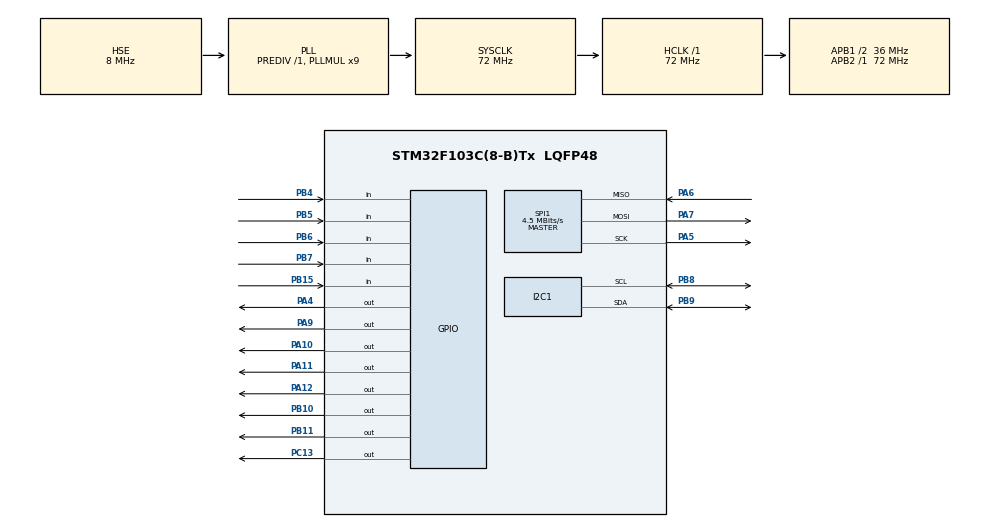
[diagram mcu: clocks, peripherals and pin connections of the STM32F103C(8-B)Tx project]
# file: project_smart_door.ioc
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Mcu.Family=STM32F1
Mcu.Name=STM32F103C(8-B)Tx
Mcu.Package=LQFP48
NVIC.PriorityGroup=NVIC_PRIORITYGROUP_4
PA10.Signal=GPIO_Output
PA11.Signal=GPIO_Output
PA12.Signal=GPIO_Output
PA13.Mode=Serial_Wire
PA13.Signal=SYS_JTMS-SWDIO
PA14.Mode=Serial_Wire
PA14.Signal=SYS_JTCK-SWCLK
PA4.Signal=GPIO_Output
PA5.Mode=Full_Duplex_Master
PA5.Signal=SPI1_SCK
PA6.Mode=Full_Duplex_Master
PA6.Signal=SPI1_MISO
PA7.Mode=Full_Duplex_Master
PA7.Signal=SPI1_MOSI
PA9.Signal=GPIO_Output
PB10.Signal=GPIO_Output
PB11.Signal=GPIO_Output
PB15.GPIO_PuPd=GPIO_PULLUP
PB15.Signal=GPIO_Input
PB4.GPIO_PuPd=GPIO_PULLUP
PB4.Signal=GPIO_Input
PB5.GPIO_PuPd=GPIO_PULLUP
PB5.Signal=GPIO_Input
PB6.GPIO_PuPd=GPIO_PULLUP
PB6.Signal=GPIO_Input
PB7.GPIO_PuPd=GPIO_PULLUP
PB7.Signal=GPIO_Input
PB8.Mode=I2C
PB8.Signal=I2C1_SCL
PB9.Mode=I2C
PB9.Signal=I2C1_SDA
PC13-TAMPER-RTC.Signal=GPIO_Output
PD0-OSC_IN.Mode=HSE-External-Oscillator
PD0-OSC_IN.Signal=RCC_OSC_IN
PD1-OSC_OUT.Mode=HSE-External-Oscillator
PD1-OSC_OUT.Signal=RCC_OSC_OUT
ProjectManager.HeapSize=0x200
ProjectManager.StackSize=0x400
ProjectManager.TargetToolchain=MDK-ARM V5
RCC.AHBFreq_Value=72000000
RCC.APB1CLKDivider=RCC_HCLK_DIV2
RCC.APB1Freq_Value=36000000
RCC.APB1TimFreq_Value=72000000
RCC.APB2Freq_Value=72000000
RCC.APB2TimFreq_Value=72000000
RCC.HCLKFreq_Value=72000000
RCC.PLLMUL=RCC_PLL_MUL9
RCC.PLLSourceVirtual=RCC_PLLSOURCE_HSE
RCC.SYSCLKFreq_VALUE=72000000
RCC.SYSCLKSource=RCC_SYSCLKSOURCE_PLLCLK
RCC.USBFreq_Value=72000000
SPI1.BaudRatePrescaler=SPI_BAUDRATEPRESCALER_16
SPI1.CalculateBaudRate=4.5 MBits/s
SPI1.Direction=SPI_DIRECTION_2LINES
SPI1.Mode=SPI_MODE_MASTER
SPI1.VirtualType=VM_MASTER
board=custom

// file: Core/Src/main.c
/* USER CODE BEGIN Header */
/**
  ******************************************************************************
  * @file           : main.c
  * @brief          : Main program body
  ******************************************************************************
  * @attention
  *
  * Copyright (c) 2023 STMicroelectronics.
  * All rights reserved.
  *
  * This software is licensed under terms that can be found in the LICENSE file
  * in the root directory of this software component.
  * If no LICENSE file comes with this software, it is provided AS-IS.
  *
  ******************************************************************************
  */
/* USER CODE END Header */
#include "main.h"

/* USER CODE BEGIN Includes */
#include "rc522.h"
#include "lcd.h"
#include "string.h"
#include "stdio.h"
#include "keypad.h"
#include "stdbool.h"
#include "flash.h"
/* USER CODE END Includes */

/* USER CODE BEGIN PD */
// Cac mode cua the
#define MODE_CHECK_CARD 0
#define MODE_ADD_CARD 1
#define MODE_DEL_CARD 2
// Cac mode cua password
#define MODE_RUN 0
#define MODE_CHANGE 1
#define MODE_INPUT_PASS 2
#define MODE_PASS_MASTER 3
// Trang thai
#define OK 0
#define NOT_OK 1
// Dia chi Flash
#define ADDRESS_PMASTER_STORAGE (0x08000000 + 90 * 1024)
#define ADDRESS_PASS_STORAGE (0x08000000 + 91 * 1024)
#define ADDRESS_CARD_STORAGE (0x08000000 + 92 * 1024)
#define ADDRESS_COUNT_STORAGE (0x08000000 + 93 * 1024)
#define ADDRESS_COUNT_M_STORAGE (0x08000000 + 94 * 1024)
#define LIMIT_CARD	255
#define LIMIT_PASS	6
/* USER CODE END PD */

I2C_HandleTypeDef hi2c1;

SPI_HandleTypeDef hspi1;

/* USER CODE BEGIN PV */
// Key card default
char key_card[LIMIT_CARD*4];
char status;
char str[MFRC522_MAX_LEN]; //MFRC522_MAX_LEN = 16
char serNum[5];
int wrong_card = 0;

// Password default
char pass_master[] = {'1','1','1','1','1','1'};
char password[LIMIT_PASS];
// Cac bien su dung
uint8_t key;
int len_key_card = 0;
char i,j,tmp,x,k;
char count_key = 0;
char count_key_in = 0;
char count_enter_pass = 0;
char count_enter_pmaster = 0;
char key_pass[7];
char buffer_pass[7];
char new_pass1[7];
char new_pass2[7];
char mode_pass = 4;
char status_pass = 2;
char check_pass = 2;
char mode_card = MODE_CHECK_CARD;
char status_card = 2;
char check_card = 2;
char checking = NOT_OK;
int time = 0;
/* USER CODE END PV */

void SystemClock_Config(void);
static void MX_GPIO_Init(void);
static void MX_I2C1_Init(void);
static void MX_SPI1_Init(void);
/* USER CODE BEGIN PFP */
int get_len_keycard(void);
char check_card_RFID(void);
void check_Card(void);
void add_Card(void);
void del_Card (void);
char run_CheckPass(char pass[LIMIT_PASS]);
void run_Normal(void);
void run_ChangePass(void);
void run_InputPass(void);
void run_PassMaster(void);
void get_key(void);
void press_button(void);
void notify_audio(int s);
void open_latch(void);
void loop_main(void);
/* USER CODE END PFP */

int main(void)
{

  /* MCU Configuration--------------------------------------------------------*/

  /* Reset of all peripherals, Initializes the Flash interface and the Systick. */
  HAL_Init();

  /* Configure the system clock */
  SystemClock_Config();

  /* Initialize all configured peripherals */
  MX_GPIO_Init();
  MX_I2C1_Init();
  MX_SPI1_Init();
  /* USER CODE BEGIN 2 */
	/*
	Flash_Erase(ADDRESS_PMASTER_STORAGE);
	Flash_Write_Array(ADDRESS_PMASTER_STORAGE, (uint8_t*)pass_master, LIMIT_PASS);
	HAL_Delay(100);
	Flash_Erase(ADDRESS_PASS_STORAGE);
	Flash_Write_Array(ADDRESS_PASS_STORAGE, (uint8_t*)pass_master, LIMIT_PASS);
	HAL_Delay(100);
	*/
	Flash_Read_Array(ADDRESS_PASS_STORAGE, (uint8_t*)password, LIMIT_PASS);
	count_enter_pass = Flash_Read_Int(ADDRESS_COUNT_STORAGE);
	count_enter_pmaster = Flash_Read_Int(ADDRESS_COUNT_M_STORAGE);

  MFRC522_Init();
  lcd_init();
  lcd_put_cur(0, 3);
  lcd_send_string("WELLCOME");
	lcd_put_cur(1, 1);
  lcd_send_string("NHOM 9 - DACN");
  HAL_Delay(2000);
  lcd_clear();
  /* USER CODE END 2 */

  /* Infinite loop */
  while (1)
  {

    /* USER CODE BEGIN 3 */
    loop_main();
  }
  /* USER CODE END 3 */
}

void SystemClock_Config(void)
{
  RCC_OscInitTypeDef RCC_OscInitStruct = {0};
  RCC_ClkInitTypeDef RCC_ClkInitStruct = {0};

  /** Initializes the RCC Oscillators according to the specified parameters
  * in the RCC_OscInitTypeDef structure.
  */
  RCC_OscInitStruct.OscillatorType = RCC_OSCILLATORTYPE_HSE;
  RCC_OscInitStruct.HSEState = RCC_HSE_ON;
  RCC_OscInitStruct.HSEPredivValue = RCC_HSE_PREDIV_DIV1;
  RCC_OscInitStruct.HSIState = RCC_HSI_ON;
  RCC_OscInitStruct.PLL.PLLState = RCC_PLL_ON;
  RCC_OscInitStruct.PLL.PLLSource = RCC_PLLSOURCE_HSE;
  RCC_OscInitStruct.PLL.PLLMUL = RCC_PLL_MUL9;
  if (HAL_RCC_OscConfig(&RCC_OscInitStruct) != HAL_OK)
  {
    Error_Handler();
  }

  /** Initializes the CPU, AHB and APB buses clocks
  */
  RCC_ClkInitStruct.ClockType = RCC_CLOCKTYPE_HCLK|RCC_CLOCKTYPE_SYSCLK
                              |RCC_CLOCKTYPE_PCLK1|RCC_CLOCKTYPE_PCLK2;
  RCC_ClkInitStruct.SYSCLKSource = RCC_SYSCLKSOURCE_PLLCLK;
  RCC_ClkInitStruct.AHBCLKDivider = RCC_SYSCLK_DIV1;
  RCC_ClkInitStruct.APB1CLKDivider = RCC_HCLK_DIV2;
  RCC_ClkInitStruct.APB2CLKDivider = RCC_HCLK_DIV1;

  if (HAL_RCC_ClockConfig(&RCC_ClkInitStruct, FLASH_LATENCY_2) != HAL_OK)
  {
    Error_Handler();
  }
}

static void MX_I2C1_Init(void)
{

  hi2c1.Instance = I2C1;
  hi2c1.Init.ClockSpeed = 100000;
  hi2c1.Init.DutyCycle = I2C_DUTYCYCLE_2;
  hi2c1.Init.OwnAddress1 = 0;
  hi2c1.Init.AddressingMode = I2C_ADDRESSINGMODE_7BIT;
  hi2c1.Init.DualAddressMode = I2C_DUALADDRESS_DISABLE;
  hi2c1.Init.OwnAddress2 = 0;
  hi2c1.Init.GeneralCallMode = I2C_GENERALCALL_DISABLE;
  hi2c1.Init.NoStretchMode = I2C_NOSTRETCH_DISABLE;
  if (HAL_I2C_Init(&hi2c1) != HAL_OK)
  {
    Error_Handler();
  }

}

static void MX_SPI1_Init(void)
{

  /* SPI1 parameter configuration*/
  hspi1.Instance = SPI1;
  hspi1.Init.Mode = SPI_MODE_MASTER;
  hspi1.Init.Direction = SPI_DIRECTION_2LINES;
  hspi1.Init.DataSize = SPI_DATASIZE_8BIT;
  hspi1.Init.CLKPolarity = SPI_POLARITY_LOW;
  hspi1.Init.CLKPhase = SPI_PHASE_1EDGE;
  hspi1.Init.NSS = SPI_NSS_SOFT;
  hspi1.Init.BaudRatePrescaler = SPI_BAUDRATEPRESCALER_16;
  hspi1.Init.FirstBit = SPI_FIRSTBIT_MSB;
  hspi1.Init.TIMode = SPI_TIMODE_DISABLE;
  hspi1.Init.CRCCalculation = SPI_CRCCALCULATION_DISABLE;
  hspi1.Init.CRCPolynomial = 10;
  if (HAL_SPI_Init(&hspi1) != HAL_OK)
  {
    Error_Handler();
  }

}

static void MX_GPIO_Init(void)
{
  GPIO_InitTypeDef GPIO_InitStruct = {0};

  /* GPIO Ports Clock Enable */
  __HAL_RCC_GPIOC_CLK_ENABLE();
  __HAL_RCC_GPIOD_CLK_ENABLE();
  __HAL_RCC_GPIOA_CLK_ENABLE();
  __HAL_RCC_GPIOB_CLK_ENABLE();

  /*Configure GPIO pin Output Level */
  HAL_GPIO_WritePin(GPIOC, GPIO_PIN_13, GPIO_PIN_RESET);

  /*Configure GPIO pin Output Level */
  HAL_GPIO_WritePin(GPIOA, GPIO_PIN_4|GPIO_PIN_9|GPIO_PIN_10|GPIO_PIN_11
                          |GPIO_PIN_12, GPIO_PIN_RESET);

  /*Configure GPIO pin Output Level */
  HAL_GPIO_WritePin(GPIOB, GPIO_PIN_10|GPIO_PIN_11, GPIO_PIN_RESET);

  /*Configure GPIO pin : PC13 */
  GPIO_InitStruct.Pin = GPIO_PIN_13;
  GPIO_InitStruct.Mode = GPIO_MODE_OUTPUT_PP;
  GPIO_InitStruct.Pull = GPIO_NOPULL;
  GPIO_InitStruct.Speed = GPIO_SPEED_FREQ_LOW;
  HAL_GPIO_Init(GPIOC, &GPIO_InitStruct);

  /*Configure GPIO pins : PA4 PA9 PA10 PA11
                           PA12 */
  GPIO_InitStruct.Pin = GPIO_PIN_4|GPIO_PIN_9|GPIO_PIN_10|GPIO_PIN_11
                          |GPIO_PIN_12;
  GPIO_InitStruct.Mode = GPIO_MODE_OUTPUT_PP;
  GPIO_InitStruct.Pull = GPIO_NOPULL;
  GPIO_InitStruct.Speed = GPIO_SPEED_FREQ_LOW;
  HAL_GPIO_Init(GPIOA, &GPIO_InitStruct);

  /*Configure GPIO pins : PB10 PB11 */
  GPIO_InitStruct.Pin = GPIO_PIN_10|GPIO_PIN_11;
  GPIO_InitStruct.Mode = GPIO_MODE_OUTPUT_PP;
  GPIO_InitStruct.Pull = GPIO_NOPULL;
  GPIO_InitStruct.Speed = GPIO_SPEED_FREQ_LOW;
  HAL_GPIO_Init(GPIOB, &GPIO_InitStruct);

  /*Configure GPIO pins : PB15 PB4 PB5 PB6
                           PB7 */
  GPIO_InitStruct.Pin = GPIO_PIN_15|GPIO_PIN_4|GPIO_PIN_5|GPIO_PIN_6
                          |GPIO_PIN_7;
  GPIO_InitStruct.Mode = GPIO_MODE_INPUT;
  GPIO_InitStruct.Pull = GPIO_PULLUP;
  HAL_GPIO_Init(GPIOB, &GPIO_InitStruct);

}

/* USER CODE BEGIN 4 */

// Ham nhan gia tri tu ban phim nhap
void get_key()
{
  uint8_t key_input = read_keypad();
  if (key_input != 0xFF)
  {
    key = key_input;
    HAL_Delay(100);
  }
  // Che do doi mat khau
  if (key == 'A')
  {
    lcd_clear();
    count_key_in = 0;
    count_key = 0;
    mode_pass = MODE_CHANGE;
		mode_card = 3;
  }
	else if (key == 'B')
	{
		lcd_clear();
    count_key = 0;
		mode_card = MODE_ADD_CARD;
		mode_pass = 4;
    check_pass = 2;
	}
	else if (key == 'C')
	{
		lcd_clear();
    count_key = 0;
		mode_card = MODE_DEL_CARD;
		mode_pass = 4;
    check_pass = 2;
	}
	else if (key == 'D')
	{
		lcd_clear();
    count_key = 0;
		mode_pass = MODE_PASS_MASTER;
		mode_card = 3;
    check_pass = 2;
	}
  // Nhan * de backspace
  else if (key == '*')
  {
    if ((count_key > 0)&&(checking == OK))
    {
      count_key--;
      lcd_put_cur(1, count_key);
      lcd_send_data (' ');
    }
		else if ((count_key == 0)&&(checking == OK))
		{
			lcd_clear();
			check_pass = 2;
			mode_pass = 4;
			mode_card = MODE_CHECK_CARD;
		}
    if (count_key_in > 0&&(mode_pass==MODE_INPUT_PASS))
    {
      if(count_key_in<LIMIT_PASS)
      {
        lcd_put_cur(1, count_key_in-1);
        lcd_send_data (' ');
        count_key_in--;
      }
      else
      {
        lcd_put_cur(1, count_key_in-(LIMIT_PASS+1));
        lcd_send_data (' ');
        count_key_in--;
      }
    }
  }
	// Nhan # de xac nhan password or cho phep nhap password
  else if (key == '#')
  {
		lcd_clear();
    count_key_in = 0;
    count_key = 0;
    check_pass = 2;
		mode_card = MODE_CHECK_CARD;
    mode_pass = MODE_RUN;

  }
  else {}
  key_input = 0;
}

// Ham vong lap chuong trinh chinh
void loop_main()
{
	//Flash_Read_Array(ADDRESS_PASS_STORAGE, (uint8_t*)password, LIMIT_PASS);
	//Flash_Read_Int(ADDRESS_COUNT_STORAGE);
	//Flash_Read_Int(ADDRESS_COUNT_M_STORAGE);
	press_button();
  get_key();
	switch (mode_card)
	{
		case MODE_CHECK_CARD:
      check_Card();
      break;
    case MODE_ADD_CARD:
      add_Card();
      break;
    case MODE_DEL_CARD:
      del_Card();
      break;
    default:
      break;
	}
  switch (mode_pass)
  {
    case MODE_RUN:
      run_Normal();
      break;
    case MODE_CHANGE:
      run_ChangePass();
      break;
    case MODE_INPUT_PASS:
      run_InputPass();
      break;
		case MODE_PASS_MASTER:
			run_PassMaster();
			break;
    default:
      break;
  }
}

// Ham check password
char run_CheckPass(char pass[LIMIT_PASS])
{
  checking = OK;
  if ((key >= '0')&&(key <= '9'))
  {
    if (count_key == 0)
    {
      lcd_clear(); // Xoa man hinh
    }
    if (count_key < LIMIT_PASS)
    {
      buffer_pass[count_key] = key;
			//char buff_key[1];
			//buff_key[0] = key;
      lcd_put_cur(1,count_key);
      lcd_send_string("*"); // Hien thi '*' the hien dang nhap pass
      count_key++;
      key = 0;
    }
    if (count_key == LIMIT_PASS)
    {
      count_key = 0;
      lcd_clear(); // Xoa man hinh
      for(i = 0; i < LIMIT_PASS; i++){
        if(pass[i] != buffer_pass[i])
          break;
      }
      if (i == LIMIT_PASS)
      {
        check_pass = OK;
      }
      else
      {
        check_pass = NOT_OK;
        lcd_clear();
        lcd_put_cur(0,0);
        lcd_send_string("WRONG PASSWORD!"); // Hien thi sai mat khau
        notify_audio(4);
        HAL_Delay(3000);
        lcd_clear();
      }
    }
  }
  return check_pass;
  checking = NOT_OK;
}

// Ham run_Normal
void run_Normal()
{
  lcd_put_cur(0, 0);
  lcd_send_string("ENTER PASSWORD:");
  status_pass = run_CheckPass(password);
  if (status_pass == OK)
  {
		HAL_Delay(300);
    lcd_clear();
    lcd_put_cur(0,1);
    lcd_send_string("DOOR IS OPEN!"); // Hien thi mo cua
    notify_audio(2);
    open_latch();
    lcd_clear();
    count_enter_pass = 0;
		Flash_Erase(ADDRESS_COUNT_STORAGE);
		Flash_Write_Int(ADDRESS_COUNT_STORAGE, count_enter_pass);
		HAL_Delay(100);
    mode_pass = 4;
    check_pass = 2;
  }
  else if (status_pass == NOT_OK)
  {
    check_pass = 2;
    count_enter_pass++;
		Flash_Erase(ADDRESS_COUNT_STORAGE);
		Flash_Write_Int(ADDRESS_COUNT_STORAGE, count_enter_pass);
		HAL_Delay(100);
    if (count_enter_pass >= 3)
    {
      //count_enter_pass = 0;
			char buff_times[16];
			lcd_clear();
			sprintf(buff_times, "WRONG %d TIMES", count_enter_pass);
			notify_audio(15);
      lcd_clear();
      lcd_put_cur(0,3);
      lcd_send_string("WARNING!"); // Canh bao
			lcd_put_cur(1,1);
      lcd_send_string(buff_times);
      lcd_clear();
			time = count_enter_pass*40;
			lcd_put_cur(0,2);
      lcd_send_string("WAIT FOR");
			while(time>0)
			{
				char buff_time[16];
				sprintf(buff_time, "%d SECONDS", time);
				lcd_put_cur(1,1);
				lcd_send_string(buff_time);
				HAL_Delay(1000);
				time--;
			}
			lcd_clear();
    }
		check_pass = 2;
    status_pass = 2;
		mode_pass = 4;
    mode_card = MODE_CHECK_CARD;
  }
  else {}
}

// Ham run_ChangePass
void run_ChangePass()
{
  lcd_put_cur(0, 1);
  lcd_send_string("OLD PASSWORD:");
  status_pass = run_CheckPass(password);
  if (status_pass == OK)
  {
		HAL_Delay(300);
		lcd_put_cur(0,1);
		lcd_send_string("NEW PASSWORD:");
    mode_pass = MODE_INPUT_PASS;
  }
  else if (status_pass == NOT_OK)
  {
    lcd_clear();
    status_pass = 2;
    mode_pass = 4;
  }
  else {}
}

// Ham run_InputPass
void run_InputPass(){
  if ((key >= '0')&&(key <= '9'))
  {
    if (count_key_in < LIMIT_PASS)
    {
      new_pass1[count_key_in] = key;
      lcd_put_cur(1,count_key_in);
      lcd_send_string("*");
      count_key_in++;
      if (count_key_in == LIMIT_PASS){
        lcd_clear();
        lcd_put_cur(0,1);
        lcd_send_string("CONFIRM PASS:");
      }

      key = 0;
    }
    else
    {
      new_pass2[count_key_in-LIMIT_PASS] = key;
      lcd_put_cur(1,count_key_in-LIMIT_PASS);
      lcd_send_string("*");
      count_key_in++;
      key = 0;
    }
    if (count_key_in == LIMIT_PASS*2)
    {
      lcd_clear();
      count_key_in = 0;
      for(i = 0; i < LIMIT_PASS; i++)
      {
        if (new_pass1[i] != new_pass2[i])
          break;
      }
      if (i == 6)
      {
				for(i = 0; i < LIMIT_PASS; i++)
				{
					password[i] = new_pass1[i];
				}
        i=0;

				Flash_Erase(ADDRESS_PASS_STORAGE);
				Flash_Write_Array(ADDRESS_PASS_STORAGE, (uint8_t*)password, LIMIT_PASS);
				HAL_Delay(100);
				//Flash_Read_Array(ADDRESS_PASS_STORAGE, (uint8_t*)password, LIMIT_PASS);

        lcd_clear();
        lcd_put_cur(0,4);
        lcd_send_string("CHANGE");
				lcd_put_cur(1,2);
        lcd_send_string("SUCCESSFULLY");
				notify_audio(2);
        check_pass = 2;
      }
      else
      {
        lcd_clear();
        lcd_put_cur(0,4);
        lcd_send_string("CHANGE");
				lcd_put_cur(1,0);
        lcd_send_string("UNSUCCESSFULLY");
				notify_audio(4);
        check_pass = 2;
      }
      HAL_Delay(2000);
      lcd_clear();
			check_pass = 2;
      status_pass = 2;
			mode_pass = 4;
      mode_card = MODE_CHECK_CARD;
    }
  }
}

//Ham nhap pass master
void run_PassMaster()
{
	lcd_put_cur(0, 0);
  lcd_send_string("PASSWORD MASTER:");
  status_pass = run_CheckPass(pass_master);
  if(status_pass == OK)
  {
		check_pass = 2;
		status_pass = 2;
		lcd_put_cur(0,0);
		lcd_send_string("PASSWORD MASTER");
		lcd_put_cur(1,3);
		lcd_send_string("IS CORRECT");
		notify_audio(2);
		Flash_Erase(ADDRESS_COUNT_M_STORAGE);
		count_enter_pmaster = 0;
		Flash_Write_Int(ADDRESS_COUNT_M_STORAGE, count_enter_pmaster);
		HAL_Delay(100);
    HAL_Delay(1000);
		while(1)
		{
			get_key();
			lcd_put_cur(0,0);
			lcd_send_string("1:RESET PASSWORD");
			lcd_put_cur(1,0);
			lcd_send_string("2:RESET SYSTEM");
			if ((key >= '0')&&(key <= '9'))
			{
				lcd_clear(); // Xoa man hinh
				if(key == '1')
				{
					notify_audio(1);
					lcd_put_cur(0,0);
					lcd_send_string("RESET PASSWORD");
					lcd_put_cur(1,1);
					lcd_send_string("1:YES     2:NO");
					key = 0;
					while(1)
					{
						get_key();
						if ((key >= '0')&&(key <= '9'))
						{
							if(key == '1')
							{
								lcd_clear();
								Flash_Erase(ADDRESS_PASS_STORAGE);
								Flash_Write_Array(ADDRESS_PASS_STORAGE, (uint8_t*)pass_master, LIMIT_PASS);
								HAL_Delay(100);
								Flash_Erase(ADDRESS_COUNT_STORAGE);
								count_enter_pass = 0;
								Flash_Write_Int(ADDRESS_COUNT_STORAGE, count_enter_pass);
								HAL_Delay(100);
								Flash_Read_Array(ADDRESS_PASS_STORAGE, (uint8_t*)password, LIMIT_PASS);
								HAL_Delay(2000);
								lcd_put_cur(0,0);
								lcd_send_string("RESET PASSWORD");
								lcd_put_cur(1,0);
								lcd_send_string("SUCCESSFULLY");
								notify_audio(2);
								lcd_clear();
								mode_pass = 4;
								mode_card = MODE_CHECK_CARD;
								break;
							}
							if(key == '2')
							{
								lcd_clear();
								break;
							}
						}
					}
					if(key == '1' | key == '2')
					{
						key = 0;
						mode_pass = 4;
						mode_card = MODE_CHECK_CARD;
						break;
					}
				}
				else if(key == '2')
				{
					notify_audio(1);
					lcd_put_cur(0,0);
					lcd_send_string("RESET SYSTEM");
					lcd_put_cur(1,1);
					lcd_send_string("1:YES     2:NO");
					key = 0;
					while(1)
					{
						get_key();
						if ((key >= '0')&&(key <= '9'))
						{
							if(key == '1')
							{
								lcd_clear();
								Flash_Erase(ADDRESS_PASS_STORAGE);
								Flash_Write_Array(ADDRESS_PASS_STORAGE, (uint8_t*)pass_master, LIMIT_PASS);
								HAL_Delay(100);
								Flash_Erase(ADDRESS_COUNT_STORAGE);
								count_enter_pass = 0;
								Flash_Write_Int(ADDRESS_COUNT_STORAGE, count_enter_pass);
								HAL_Delay(100);
								Flash_Erase(ADDRESS_COUNT_M_STORAGE);
								count_enter_pmaster = 0;
								Flash_Write_Int(ADDRESS_COUNT_M_STORAGE, count_enter_pmaster);
								HAL_Delay(100);
								Flash_Erase(ADDRESS_CARD_STORAGE);
								Flash_Read_Array(ADDRESS_PASS_STORAGE, (uint8_t*)password, LIMIT_PASS);
								HAL_Delay(2000);
								lcd_put_cur(0,0);
								lcd_send_string("RESET SYSTEM");
								lcd_put_cur(1,2);
								lcd_send_string("SUCCESSFULLY");
								notify_audio(2);
								lcd_clear();
								mode_pass = 4;
								mode_card = MODE_CHECK_CARD;
								break;
							}
							if(key == '2')
							{
								lcd_clear();
								break;
							}
						}
					}
					if(key == '1' | key == '2')
					{
						key = 0;
						mode_pass = 4;
						mode_card = MODE_CHECK_CARD;
						break;
					}
				}
			}
		}
  }
  else if (status_pass == NOT_OK)
  {
    check_pass = 2;
    count_enter_pmaster++;
		Flash_Erase(ADDRESS_COUNT_M_STORAGE);
		Flash_Write_Int(ADDRESS_COUNT_M_STORAGE, count_enter_pmaster);
		HAL_Delay(100);
    if (count_enter_pmaster >= 3)
    {
			lcd_clear();
			char buff_times[16];
			sprintf(buff_times, "WRONG %d TIMES", count_enter_pmaster);
			notify_audio(15);
			lcd_clear();
      lcd_put_cur(0,3);
      lcd_send_string("WARNING!"); // Canh bao
			lcd_put_cur(1,1);
      lcd_send_string(buff_times);
      lcd_clear();
			time = count_enter_pmaster*40;
			lcd_put_cur(0,2);
      lcd_send_string("WAIT FOR");
			while(time>0)
			{
				char buff_time[16];
				sprintf(buff_time, "%d SECONDS", time);
				lcd_put_cur(1,1);
				lcd_send_string(buff_time);
				HAL_Delay(1000);
				time--;
			}
			lcd_clear();
    }
		check_pass = 2;
		status_pass = 2;
		mode_pass = 4;
		mode_card = MODE_CHECK_CARD;
  }
  else {}
}

int get_len_keycard()
{
	int n = 0;
	Flash_Read_Array(ADDRESS_CARD_STORAGE, (uint8_t*)key_card, LIMIT_CARD*4);
	for(i = 0; i<sizeof(key_card)/key_card[0]; i++)
	{
		if(key_card[i] != 0xFF)
		{
			n++;
		}
		else
		{
			break;
		}
	}
	return n;
}

// Ham check card
char check_card_RFID()
{
	bool is_true_card = false;
	char buff_uID[10];
	status = MFRC522_Request(PICC_REQIDL, str);
	status = MFRC522_Anticoll(str);
	memcpy(serNum, str, 4);
	if(status == MI_OK)
	{
		notify_audio(1);
		for(i = 0; i < len_key_card/4; i++)
		{
			bool match = true;
			for(j = 4*i; j < 4*i+4; j++)
			{
				if(key_card[j] != serNum[j%4])
				{
					match = false;
					break;
				}
			}
			if(match)
			{
				is_true_card = true;
				break;
			}
		}
		if(is_true_card == false)
		{
				check_card = NOT_OK;
		}
		else
		{
			check_card = OK;
		}
	}
	return check_card;
}

void check_Card()
{
	len_key_card = get_len_keycard();
	status_card = check_card_RFID();
	if(status_card == OK)
	{
		check_card = 2;
		lcd_clear();
		lcd_put_cur(0, 1);
		lcd_send_string("DOOR IS OPEN!");
		notify_audio(2);
		open_latch();
		mode_pass = 2;
		lcd_clear();
	}
	else if (status_card == NOT_OK)
	{
		if(len_key_card <= 0)
		{
			lcd_clear();
			lcd_put_cur(0,2);
			lcd_send_string("THE CARD'S");
			lcd_put_cur(1,0);
			lcd_send_string("MEMORY IS EMPTY");
			notify_audio(4);
			HAL_Delay(2000);
			lcd_clear();
			mode_pass = 4;
			check_card = 2;
			status_card = 2;
		}
		else
		{
			check_card = 2;
			lcd_clear();
			lcd_put_cur(0, 1);
			lcd_send_string("WRONG CARD!");
			notify_audio(4);
			HAL_Delay(3000);
			lcd_clear();
			mode_pass = 4;
			check_card = 2;
			status_card = 2;
		}
	}
}
// Ham them the
void add_Card()
{
	if(len_key_card == LIMIT_CARD*4)
	{
		lcd_clear();
		lcd_put_cur(0,2);
		lcd_send_string("THE CARD'S");
		lcd_put_cur(1,1);
		lcd_send_string("MEMORY IS FULL");
		mode_card = MODE_CHECK_CARD;
	}
	else
	{
		lcd_put_cur(0, 0);
		lcd_send_string("PASSWORD MASTER:");
		status_pass = run_CheckPass(pass_master);
		if(status_pass == OK)
		{
			lcd_clear();
			check_pass = 2;
			status_pass = 2;
			lcd_put_cur(0,1);
			lcd_send_string("CORRECT PASS!");
			notify_audio(2);
			HAL_Delay(1000);
			lcd_clear();
			lcd_put_cur(0,1);
			lcd_send_string("PUT NEW CARD");
			lcd_put_cur(1,1);
			lcd_send_string("ON NFC READER");
			while(1)
			{
				status_card = check_card_RFID();
				if(status_card == OK)
				{
					lcd_clear();
					lcd_put_cur(0,1);
					lcd_send_string("THE CARD");
					lcd_put_cur(1,5);
					lcd_send_string("HAS EXISTED");
					notify_audio(4);
					HAL_Delay(2000);
					lcd_clear();
					mode_card = MODE_CHECK_CARD;
					check_card = 2;
					status_card = 2;
					break;
				}
				else if(status_card == NOT_OK)
				{
					for(i=len_key_card; i<len_key_card+4; i++)
						{
							key_card[i] = serNum[i%4];
						}
					Flash_Erase(ADDRESS_CARD_STORAGE);
					Flash_Write_Array(ADDRESS_CARD_STORAGE, (uint8_t*)key_card, LIMIT_CARD*4);
					HAL_Delay(100);

					lcd_clear();
					lcd_put_cur(0,1);
					lcd_send_string("ADD NEW CARD");
					lcd_put_cur(1,1);
					lcd_send_string("SUCCESSFULLY");
					notify_audio(2);
					HAL_Delay(2000);
					lcd_clear();
					mode_card = MODE_CHECK_CARD;
					check_card = 2;
					status_card = 2;
					break;
				}
				HAL_Delay(1000);
				k++;
				if(k == 4)
				{
					lcd_clear();
					mode_card = MODE_CHECK_CARD;
					k = 0;
					break;
				}
			}
		}
		else if (status_pass == NOT_OK)
		{
			lcd_clear();
			mode_card = MODE_CHECK_CARD;
			mode_pass = 4;
			check_pass = 2;
			status_pass = 2;
		}
	}
}

// Ham xoa the
void del_Card()
{
	if(len_key_card <= 0)
	{
		lcd_clear();
		lcd_put_cur(0,2);
		lcd_send_string("THE CARD'S");
		lcd_put_cur(1,0);
		lcd_send_string("MEMORY IS EMPTY");
		notify_audio(4);
		HAL_Delay(2000);
		lcd_clear();
		mode_card = MODE_CHECK_CARD;
		check_card = 2;
		status_pass = 2;
		status_card = 2;
	}
	else
	{
		lcd_put_cur(0, 0);
		lcd_send_string("PASSWORD MASTER:");
		status_pass = run_CheckPass(pass_master);
		if(status_pass == OK)
		{
			lcd_clear();
			check_pass = 2;
			status_pass = 2;
			lcd_put_cur(0,1);
			lcd_send_string("CORRECT PASS!");
			notify_audio(2);
			HAL_Delay(1000);
			lcd_clear();
			lcd_put_cur(0,1);
			lcd_send_string("PUT YOUR CARD");
			lcd_put_cur(1,1);
			lcd_send_string("ON NFC READER");
			while(1)
			{
				status_card = check_card_RFID();
				if(status_card == OK)
				{
					for(x = i*4; x<len_key_card; x++)
					{
						key_card[x] = key_card[x+4];
						if(x >= len_key_card-4)
						{
							key_card[x] = 0xFF;
						}
					}
					Flash_Erase(ADDRESS_CARD_STORAGE);
					Flash_Write_Array(ADDRESS_CARD_STORAGE, (uint8_t*)key_card, LIMIT_CARD*4);
					HAL_Delay(100);

					lcd_clear();
					lcd_put_cur(0,1);
					lcd_send_string("DEL THIS CARD");
					lcd_put_cur(1,1);
					lcd_send_string("SUCCESSFULLY");
					notify_audio(2);
					HAL_Delay(2000);
					lcd_clear();
					mode_card = MODE_CHECK_CARD;
					check_card = 2;
					status_card = 2;
					break;
				}
				else if (status_card == NOT_OK)
				{
					lcd_clear();
					lcd_put_cur(0,2);
					lcd_send_string("NO EXIST");
					lcd_put_cur(1,6);
					lcd_send_string("THE CARD");
					notify_audio(4);
					HAL_Delay(2000);
					lcd_clear();
					mode_card = MODE_CHECK_CARD;
					check_card = 2;
					status_card = 2;
					break;
				}
				HAL_Delay(1000);
				k++;
				if(k == 4)
				{
					lcd_clear();
					mode_card = MODE_CHECK_CARD;
					k = 0;
					break;
				}
			}
		}
		else if (status_pass == NOT_OK)
		{
			lcd_clear();
			mode_card = MODE_CHECK_CARD;
			mode_pass = 4;
			check_pass = 2;
			status_pass = 2;
		}
	}
}

// Ham thong bao bang am thanh
void notify_audio(int s)
{
  for(int ii=0; ii<s; ii++)
  {
    HAL_GPIO_WritePin(GPIOB, GPIO_PIN_11, 1);
    HAL_Delay(200);
		HAL_GPIO_WritePin(GPIOB, GPIO_PIN_11, 0);
		HAL_Delay(200);
  }
	HAL_Delay(500);
}

// Ham mo khoa
void open_latch()
{
	HAL_GPIO_WritePin(GPIOB, GPIO_PIN_10, 1);
	HAL_Delay(5000);
	HAL_GPIO_WritePin(GPIOB, GPIO_PIN_10, 0);
}

// Ham nhan mo cua
void press_button()
{
	if(HAL_GPIO_ReadPin(GPIOB, GPIO_PIN_15)==0)
	{
		while(HAL_GPIO_ReadPin(GPIOB, GPIO_PIN_15)==0);
		lcd_clear();
		lcd_put_cur(0, 1);
		lcd_send_string("DOOR IS OPEN!");
		notify_audio(2);
		open_latch();
		lcd_clear();
		mode_pass = 4;
		check_pass = 2;
		status_pass = 2;
		check_card = 2;
		status_card = 2;
		mode_card = MODE_CHECK_CARD;
	}
}
/* USER CODE END 4 */

void Error_Handler(void)
{
  __disable_irq();
  while (1)
  {
  }
}
